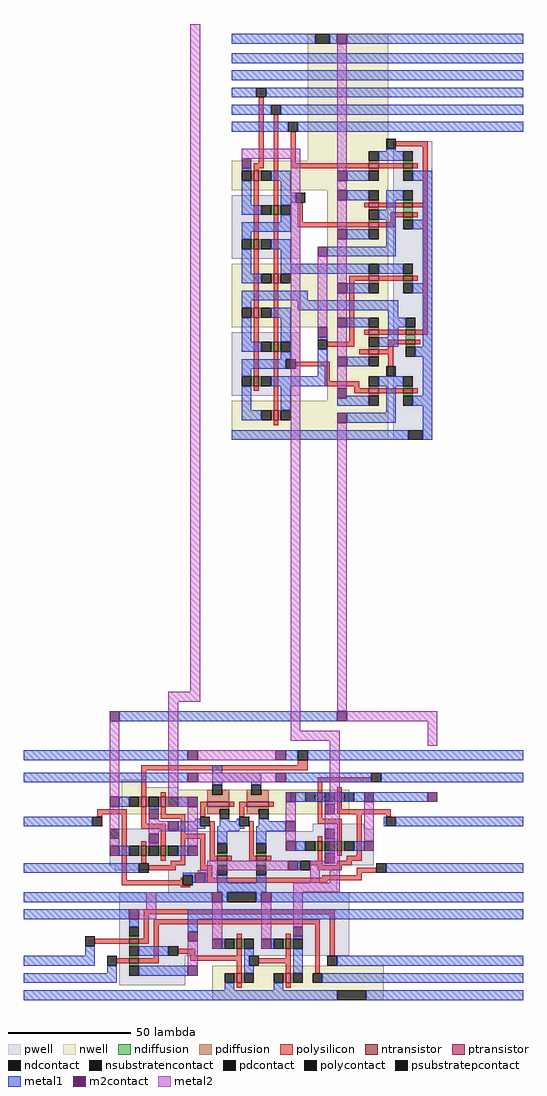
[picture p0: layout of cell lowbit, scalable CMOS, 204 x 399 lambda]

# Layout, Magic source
magic
tech scmos
<< metal1 >>
rect 145 87 182 91
rect 145 79 182 83
rect 145 72 182 76
rect 145 65 182 69
rect 145 58 182 62
rect 145 51 182 55
rect 17 -190 106 -186
rect 87 -223 143 -219
rect -22 -264 -18 -260
rect 145 -264 182 -260
rect -22 -271 -18 -267
rect 145 -271 182 -267
rect -22 -290 -18 -286
rect 145 -290 182 -286
rect -22 -297 -18 -293
rect 145 -297 182 -293
rect -22 -304 -18 -300
rect 145 -304 182 -300
<< metal2 >>
rect 46 -178 50 95
rect 37 -182 50 -178
rect 13 -207 17 -190
rect 37 -205 41 -182
rect 87 -194 91 -75
rect 106 -186 110 -70
rect 110 -190 147 -186
rect 87 -198 107 -194
rect 103 -256 107 -198
rect 143 -200 147 -190
rect 88 -260 107 -256
<< m2contact >>
rect 13 -190 17 -186
rect 106 -190 110 -186
rect 143 -223 147 -219
use rr1  rr1_0
transform 1 0 176 0 1 101
box -113 -176 -31 -10
use mux1  mux1_0
transform 1 0 118 0 1 -233
box -140 -31 64 31
use shift1  shift1_0
transform 1 0 0 0 1 -108
box -18 -196 146 -152
<< end >>

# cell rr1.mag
magic
tech scmos
<< pwell >>
rect -113 -102 -85 -76
rect -113 -158 -85 -132
rect -47 -176 -31 -54
<< nwell >>
rect -82 -62 -49 -10
rect -113 -74 -49 -62
rect -74 -104 -49 -74
rect -113 -130 -49 -104
rect -74 -160 -49 -130
rect -113 -176 -49 -160
<< polysilicon >>
rect -102 -63 -100 -36
rect -104 -65 -100 -63
rect -104 -66 -102 -65
rect -104 -94 -102 -70
rect -96 -80 -94 -43
rect -89 -63 -87 -50
rect -46 -56 -33 -54
rect -89 -65 -57 -63
rect -53 -65 -43 -63
rect -39 -65 -37 -63
rect -35 -79 -33 -56
rect -104 -122 -102 -98
rect -96 -108 -94 -84
rect -86 -87 -84 -79
rect -59 -81 -57 -79
rect -53 -81 -43 -79
rect -39 -81 -33 -79
rect -48 -85 -43 -83
rect -39 -85 -37 -83
rect -48 -87 -46 -85
rect -86 -89 -57 -87
rect -53 -89 -46 -87
rect -65 -111 -57 -109
rect -53 -111 -43 -109
rect -39 -111 -37 -109
rect -104 -150 -102 -126
rect -96 -136 -94 -112
rect -65 -136 -63 -111
rect -35 -131 -33 -81
rect -59 -133 -57 -131
rect -53 -133 -42 -131
rect -38 -133 -33 -131
rect -74 -138 -63 -136
rect -49 -137 -42 -135
rect -38 -137 -36 -135
rect -49 -139 -47 -137
rect -104 -156 -102 -154
rect -96 -164 -94 -140
rect -61 -141 -57 -139
rect -53 -141 -47 -139
rect -87 -146 -73 -144
rect -49 -146 -47 -141
rect -75 -152 -73 -146
rect -75 -154 -61 -152
rect -63 -155 -61 -154
rect -63 -157 -57 -155
rect -53 -157 -43 -155
rect -39 -157 -37 -155
rect -96 -170 -94 -168
<< ndiffusion >>
rect -43 -63 -39 -62
rect -43 -66 -39 -65
rect -43 -79 -39 -78
rect -97 -84 -96 -80
rect -94 -84 -93 -80
rect -105 -98 -104 -94
rect -102 -98 -101 -94
rect -43 -83 -39 -81
rect -43 -86 -39 -85
rect -43 -109 -39 -108
rect -97 -140 -96 -136
rect -94 -140 -93 -136
rect -43 -112 -39 -111
rect -42 -131 -38 -130
rect -42 -135 -38 -133
rect -105 -154 -104 -150
rect -102 -154 -101 -150
rect -42 -138 -38 -137
rect -43 -155 -39 -154
rect -43 -158 -39 -157
<< pdiffusion >>
rect -105 -70 -104 -66
rect -102 -70 -101 -66
rect -57 -63 -53 -62
rect -57 -66 -53 -65
rect -57 -79 -53 -78
rect -57 -82 -53 -81
rect -57 -87 -53 -86
rect -57 -90 -53 -89
rect -97 -112 -96 -108
rect -94 -112 -93 -108
rect -57 -109 -53 -108
rect -105 -126 -104 -122
rect -102 -126 -101 -122
rect -57 -112 -53 -111
rect -57 -131 -53 -130
rect -57 -134 -53 -133
rect -57 -139 -53 -138
rect -57 -142 -53 -141
rect -57 -155 -53 -154
rect -57 -158 -53 -157
rect -97 -168 -96 -164
rect -94 -168 -93 -164
<< metal1 >>
rect -113 -14 -79 -10
rect -73 -14 -70 -10
rect -66 -14 -31 -10
rect -113 -22 -31 -18
rect -113 -29 -31 -25
rect -113 -36 -103 -32
rect -99 -36 -31 -32
rect -113 -43 -97 -39
rect -93 -43 -31 -39
rect -113 -50 -90 -46
rect -86 -50 -31 -46
rect -50 -58 -46 -57
rect -53 -62 -43 -58
rect -109 -66 -105 -65
rect -97 -70 -89 -66
rect -66 -70 -57 -66
rect -39 -70 -31 -66
rect -109 -80 -105 -70
rect -93 -75 -89 -70
rect -93 -79 -87 -75
rect -66 -78 -57 -74
rect -50 -78 -43 -74
rect -93 -80 -89 -79
rect -109 -84 -101 -80
rect -50 -82 -46 -78
rect -93 -87 -89 -84
rect -53 -86 -46 -82
rect -35 -86 -31 -70
rect -109 -91 -89 -87
rect -109 -94 -105 -91
rect -66 -94 -57 -90
rect -97 -98 -89 -94
rect -50 -97 -46 -86
rect -39 -90 -31 -86
rect -109 -108 -105 -98
rect -93 -104 -89 -98
rect -74 -101 -46 -97
rect -93 -108 -57 -104
rect -53 -108 -43 -104
rect -109 -112 -101 -108
rect -35 -112 -31 -90
rect -109 -119 -82 -115
rect -66 -116 -57 -112
rect -39 -116 -31 -112
rect -109 -122 -105 -119
rect -97 -126 -89 -122
rect -86 -123 -45 -119
rect -49 -126 -45 -123
rect -109 -136 -105 -126
rect -93 -136 -89 -126
rect -66 -130 -57 -126
rect -49 -130 -42 -126
rect -109 -140 -101 -136
rect -93 -143 -89 -140
rect -49 -134 -45 -130
rect -78 -135 -74 -134
rect -53 -138 -45 -134
rect -35 -138 -31 -116
rect -109 -147 -91 -143
rect -109 -150 -105 -147
rect -78 -150 -74 -139
rect -38 -142 -31 -138
rect -66 -146 -57 -142
rect -97 -154 -74 -150
rect -53 -154 -43 -150
rect -109 -164 -105 -154
rect -93 -164 -89 -154
rect -66 -159 -57 -158
rect -70 -162 -57 -159
rect -109 -168 -101 -164
rect -50 -165 -46 -154
rect -35 -158 -31 -142
rect -39 -162 -31 -158
rect -66 -169 -46 -165
rect -113 -176 -41 -172
rect -35 -176 -31 -162
<< metal2 >>
rect -109 -61 -85 -57
rect -89 -176 -85 -61
rect -70 -66 -66 -14
rect -70 -74 -66 -70
rect -70 -90 -66 -78
rect -78 -130 -74 -101
rect -70 -112 -66 -94
rect -70 -126 -66 -116
rect -70 -142 -66 -130
rect -70 -155 -66 -146
rect -70 -176 -66 -169
<< ntransistor >>
rect -43 -65 -39 -63
rect -96 -84 -94 -80
rect -104 -98 -102 -94
rect -43 -81 -39 -79
rect -43 -85 -39 -83
rect -43 -111 -39 -109
rect -96 -140 -94 -136
rect -42 -133 -38 -131
rect -42 -137 -38 -135
rect -104 -154 -102 -150
rect -43 -157 -39 -155
<< ptransistor >>
rect -104 -70 -102 -66
rect -57 -65 -53 -63
rect -57 -81 -53 -79
rect -57 -89 -53 -87
rect -96 -112 -94 -108
rect -57 -111 -53 -109
rect -104 -126 -102 -122
rect -57 -133 -53 -131
rect -57 -141 -53 -139
rect -57 -157 -53 -155
rect -96 -168 -94 -164
<< polycontact >>
rect -103 -36 -99 -32
rect -97 -43 -93 -39
rect -90 -50 -86 -46
rect -50 -57 -46 -53
rect -87 -79 -83 -75
rect -78 -139 -74 -135
rect -91 -147 -87 -143
rect -50 -150 -46 -146
<< ndcontact >>
rect -43 -62 -39 -58
rect -43 -70 -39 -66
rect -43 -78 -39 -74
rect -101 -84 -97 -80
rect -93 -84 -89 -80
rect -109 -98 -105 -94
rect -101 -98 -97 -94
rect -43 -90 -39 -86
rect -43 -108 -39 -104
rect -101 -140 -97 -136
rect -93 -140 -89 -136
rect -43 -116 -39 -112
rect -42 -130 -38 -126
rect -109 -154 -105 -150
rect -101 -154 -97 -150
rect -42 -142 -38 -138
rect -43 -154 -39 -150
rect -43 -162 -39 -158
<< pdcontact >>
rect -109 -70 -105 -66
rect -101 -70 -97 -66
rect -57 -62 -53 -58
rect -57 -70 -53 -66
rect -57 -78 -53 -74
rect -57 -86 -53 -82
rect -57 -94 -53 -90
rect -57 -108 -53 -104
rect -101 -112 -97 -108
rect -93 -112 -89 -108
rect -109 -126 -105 -122
rect -101 -126 -97 -122
rect -57 -116 -53 -112
rect -57 -130 -53 -126
rect -57 -138 -53 -134
rect -57 -146 -53 -142
rect -57 -154 -53 -150
rect -57 -162 -53 -158
rect -101 -168 -97 -164
rect -93 -168 -89 -164
<< m2contact >>
rect -70 -14 -66 -10
rect -109 -65 -105 -61
rect -70 -70 -66 -66
rect -70 -78 -66 -74
rect -70 -94 -66 -90
rect -78 -101 -74 -97
rect -70 -116 -66 -112
rect -70 -130 -66 -126
rect -78 -134 -74 -130
rect -70 -146 -66 -142
rect -70 -159 -66 -155
rect -70 -169 -66 -165
<< psubstratepcontact >>
rect -41 -176 -35 -172
<< nsubstratencontact >>
rect -79 -14 -73 -10
<< labels >>
rlabel metal2 -68 -174 -68 -174 1 Q
rlabel metal2 -87 -174 -87 -174 1 D
<< end >>

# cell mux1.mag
magic
tech scmos
<< pwell >>
rect -22 -1 -1 1
rect -105 -2 -69 -1
rect -22 -2 3 -1
rect -105 -16 3 -2
rect -103 -18 -12 -16
rect -81 -31 -12 -18
<< nwell >>
rect -100 16 -90 19
rect -100 15 -77 16
rect -100 5 -7 15
<< polysilicon >>
rect -28 25 -24 27
rect -92 23 -24 25
rect -92 12 -90 23
rect -20 18 2 20
rect -84 12 -82 14
rect -20 14 -18 18
rect -12 14 -10 16
rect -68 8 -65 10
rect -56 8 -54 10
rect -52 8 -49 10
rect -40 8 -38 10
rect -110 5 -98 7
rect -110 4 -108 5
rect -100 -22 -98 5
rect -92 1 -90 8
rect -84 5 -82 8
rect -84 3 -74 5
rect -92 -1 -82 1
rect -92 -8 -90 -6
rect -84 -8 -82 -1
rect -76 -3 -74 3
rect -68 4 -66 8
rect -52 4 -50 8
rect -76 -5 -66 -3
rect -92 -15 -90 -12
rect -84 -14 -82 -12
rect -76 -14 -74 -5
rect -80 -16 -74 -14
rect -68 -16 -66 -5
rect -64 -12 -62 2
rect -20 3 -18 10
rect -12 7 -10 10
rect -12 5 10 7
rect -48 -12 -46 2
rect -20 1 -10 3
rect -20 -6 -18 -4
rect -12 -6 -10 1
rect -64 -14 -61 -12
rect -57 -14 -55 -12
rect -48 -14 -45 -12
rect -41 -14 -39 -12
rect -20 -14 -18 -10
rect -12 -12 -10 -10
rect -4 -12 -2 5
rect 8 4 10 5
rect -8 -14 -2 -12
rect -89 -18 -78 -16
rect -68 -18 -63 -16
rect -76 -22 -75 -21
rect -100 -24 -75 -22
rect -65 -21 -63 -18
rect -23 -16 -18 -14
rect -12 -16 -6 -14
rect -20 -18 -10 -16
rect -4 -19 4 -17
rect -4 -20 -2 -19
rect -18 -21 -2 -20
rect -65 -22 -2 -21
rect -65 -23 -16 -22
rect -76 -25 -72 -24
<< ndiffusion >>
rect -93 -12 -92 -8
rect -90 -12 -89 -8
rect -85 -12 -84 -8
rect -82 -12 -81 -8
rect -61 -12 -57 -11
rect -21 -10 -20 -6
rect -18 -10 -17 -6
rect -13 -10 -12 -6
rect -10 -10 -9 -6
rect -45 -12 -41 -11
rect -61 -16 -57 -14
rect -45 -16 -41 -14
<< pdiffusion >>
rect -65 13 -63 15
rect -59 13 -56 15
rect -93 8 -92 12
rect -90 8 -89 12
rect -85 8 -84 12
rect -82 8 -81 12
rect -65 10 -56 13
rect -49 13 -47 15
rect -43 13 -40 15
rect -49 10 -40 13
rect -21 10 -20 14
rect -18 10 -17 14
rect -13 10 -12 14
rect -10 10 -9 14
rect -65 7 -56 8
rect -65 5 -60 7
rect -49 7 -40 8
rect -49 5 -44 7
<< metal1 >>
rect -140 27 -73 31
rect -33 27 -28 31
rect -24 27 64 31
rect -63 22 -59 25
rect -140 18 -73 22
rect -63 18 -43 22
rect -33 18 2 22
rect 6 18 64 22
rect -63 17 -59 18
rect -47 17 -43 18
rect -101 8 -97 12
rect -77 8 -73 12
rect -29 10 -25 14
rect -5 10 -1 14
rect -17 9 -13 10
rect -89 7 -85 8
rect -140 0 -112 4
rect -70 2 -68 3
rect -77 0 -68 2
rect -60 2 -56 3
rect -53 2 -52 3
rect -60 0 -52 2
rect -44 2 -40 3
rect -44 0 -33 2
rect -77 -1 -66 0
rect -61 -1 -50 0
rect -77 -2 -69 -1
rect -61 -2 -52 -1
rect -45 -2 -33 0
rect 7 0 8 4
rect 12 0 64 4
rect -89 -8 -85 -7
rect -61 -7 -57 -2
rect -101 -12 -97 -8
rect -77 -12 -73 -8
rect -45 -7 -41 -2
rect -17 -6 -13 -5
rect -29 -10 -25 -6
rect -5 -10 -1 -6
rect -17 -11 -13 -10
rect -140 -19 -93 -15
rect -75 -20 -70 -19
rect -71 -23 -70 -20
rect -66 -23 -65 -19
rect -61 -23 -57 -20
rect -28 -18 -27 -14
rect 8 -19 64 -15
rect -45 -23 -41 -20
rect -61 -27 -41 -23
<< metal2 >>
rect -105 12 -101 26
rect -81 12 -77 28
rect -69 27 -37 31
rect -69 18 -37 22
rect -81 8 -73 12
rect -105 -8 -101 8
rect -89 2 -85 3
rect -89 -2 -81 2
rect -89 -3 -85 -2
rect -89 -8 -85 -7
rect -73 -8 -69 8
rect -33 2 -29 10
rect -33 -6 -29 -2
rect -17 9 -13 10
rect -17 -1 -13 5
rect -17 -6 -13 -5
rect -1 -6 3 10
rect -65 -18 -32 -14
rect -23 -15 -17 -14
rect -23 -18 -13 -15
rect -69 -19 -61 -18
rect -66 -23 -61 -19
rect -23 -27 -19 -18
<< ntransistor >>
rect -92 -12 -90 -8
rect -84 -12 -82 -8
rect -20 -10 -18 -6
rect -12 -10 -10 -6
rect -61 -14 -57 -12
rect -45 -14 -41 -12
<< ptransistor >>
rect -92 8 -90 12
rect -84 8 -82 12
rect -20 10 -18 14
rect -12 10 -10 14
rect -65 8 -56 10
rect -49 8 -40 10
<< polycontact >>
rect -28 27 -24 31
rect 2 18 6 22
rect -112 0 -108 4
rect -68 0 -64 4
rect -93 -19 -89 -15
rect -52 0 -48 4
rect 8 0 12 4
rect -75 -24 -71 -20
rect -27 -18 -23 -14
rect 4 -19 8 -15
<< ndcontact >>
rect -97 -12 -93 -8
rect -89 -12 -85 -8
rect -81 -12 -77 -8
rect -61 -11 -57 -7
rect -45 -11 -41 -7
rect -25 -10 -21 -6
rect -17 -10 -13 -6
rect -9 -10 -5 -6
rect -61 -20 -57 -16
rect -45 -20 -41 -16
<< pdcontact >>
rect -63 13 -59 17
rect -97 8 -93 12
rect -89 8 -85 12
rect -81 8 -77 12
rect -47 13 -43 17
rect -25 10 -21 14
rect -17 10 -13 14
rect -9 10 -5 14
rect -60 3 -56 7
rect -44 3 -40 7
<< m2contact >>
rect -73 27 -69 31
rect -37 27 -33 31
rect -73 18 -69 22
rect -37 18 -33 22
rect -105 8 -101 12
rect -73 8 -69 12
rect -33 10 -29 14
rect -1 10 3 14
rect -89 3 -85 7
rect -81 -2 -77 2
rect -17 5 -13 9
rect -33 -2 -29 2
rect -89 -7 -85 -3
rect -105 -12 -101 -8
rect -73 -12 -69 -8
rect -17 -5 -13 -1
rect -33 -10 -29 -6
rect -1 -10 3 -6
rect -70 -23 -66 -19
rect -32 -18 -28 -14
rect -17 -15 -13 -11
<< psubstratepcontact >>
rect -105 -5 -101 -1
<< labels >>
rlabel metal1 -24 27 64 31 5 S0n
rlabel metal1 6 18 64 22 1 S1n
rlabel metal1 12 0 64 4 1 S1
rlabel metal1 8 -19 64 -15 1 S0
rlabel metal2 -23 -27 -19 -14 1 out
rlabel metal2 -105 12 -101 26 1 A
rlabel metal2 -73 -8 -69 8 1 B
rlabel metal2 -1 -6 3 10 1 C
rlabel metal1 -63 17 -59 25 1 Vdd
rlabel metal1 -61 -27 -41 -23 1 Gnd
<< end >>

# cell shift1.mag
magic
tech scmos
<< pwell >>
rect 17 -178 111 -152
rect 17 -190 44 -178
<< nwell >>
rect 55 -196 125 -182
<< polysilicon >>
rect 27 -161 105 -159
rect 27 -171 29 -161
rect 7 -173 21 -171
rect 25 -173 29 -171
rect 31 -165 99 -163
rect 31 -179 33 -165
rect 65 -171 67 -169
rect 85 -171 87 -169
rect 41 -177 48 -175
rect 46 -178 48 -177
rect 65 -178 67 -175
rect 16 -181 21 -179
rect 25 -181 33 -179
rect 46 -180 67 -178
rect 65 -185 67 -180
rect 85 -179 87 -175
rect 74 -181 87 -179
rect 85 -185 87 -181
rect 97 -185 99 -165
rect 103 -178 105 -161
rect 65 -191 67 -189
rect 85 -191 87 -189
<< ndiffusion >>
rect 21 -171 25 -170
rect 21 -174 25 -173
rect 21 -179 25 -178
rect 64 -175 65 -171
rect 67 -175 68 -171
rect 84 -175 85 -171
rect 87 -175 88 -171
rect 21 -182 25 -181
<< pdiffusion >>
rect 64 -189 65 -185
rect 67 -189 68 -185
rect 84 -189 85 -185
rect 87 -189 88 -185
<< metal1 >>
rect -18 -156 55 -152
rect 59 -156 61 -152
rect 73 -156 75 -152
rect 79 -156 146 -152
rect -18 -163 21 -159
rect 21 -166 25 -163
rect 45 -163 146 -159
rect 45 -168 49 -163
rect 88 -171 92 -170
rect 3 -178 7 -174
rect 25 -178 37 -174
rect 59 -175 60 -171
rect 79 -175 80 -171
rect 68 -178 72 -175
rect -18 -182 7 -178
rect 68 -182 70 -178
rect 12 -185 16 -182
rect -18 -189 16 -185
rect 25 -186 45 -182
rect 68 -185 72 -182
rect 88 -185 92 -175
rect 106 -182 146 -178
rect 100 -189 146 -185
rect 60 -192 64 -189
rect 80 -192 84 -189
rect -18 -196 106 -192
rect 118 -196 146 -192
<< metal2 >>
rect 28 -159 32 -152
rect 25 -163 32 -159
rect 45 -182 49 -172
rect 55 -171 59 -156
rect 75 -171 79 -156
rect 88 -166 92 -152
<< ntransistor >>
rect 21 -173 25 -171
rect 65 -175 67 -171
rect 85 -175 87 -171
rect 21 -181 25 -179
<< ptransistor >>
rect 65 -189 67 -185
rect 85 -189 87 -185
<< polycontact >>
rect 3 -174 7 -170
rect 12 -182 16 -178
rect 37 -178 41 -174
rect 70 -182 74 -178
rect 102 -182 106 -178
rect 96 -189 100 -185
<< ndcontact >>
rect 21 -170 25 -166
rect 21 -178 25 -174
rect 60 -175 64 -171
rect 68 -175 72 -171
rect 80 -175 84 -171
rect 88 -175 92 -171
rect 21 -186 25 -182
<< pdcontact >>
rect 60 -189 64 -185
rect 68 -189 72 -185
rect 80 -189 84 -185
rect 88 -189 92 -185
<< m2contact >>
rect 55 -156 59 -152
rect 75 -156 79 -152
rect 21 -163 25 -159
rect 45 -172 49 -168
rect 88 -170 92 -166
rect 55 -175 59 -171
rect 75 -175 79 -171
rect 45 -186 49 -182
<< psubstratepcontact >>
rect 61 -156 73 -152
<< nsubstratencontact >>
rect 106 -196 118 -192
<< end >>
